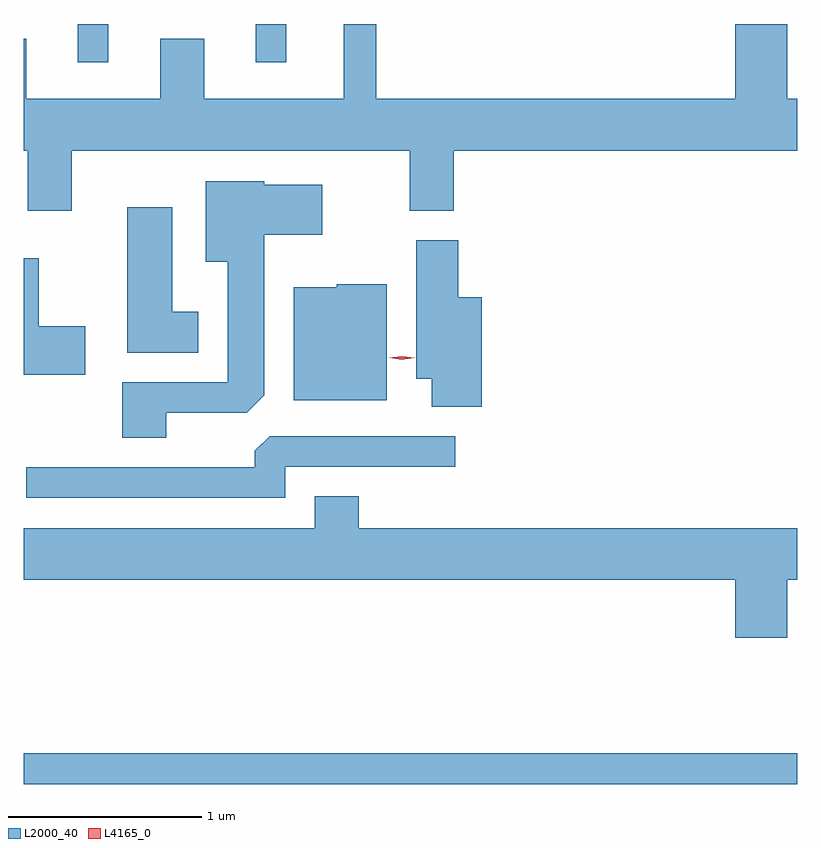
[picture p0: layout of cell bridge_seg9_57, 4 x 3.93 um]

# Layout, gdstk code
import gdstk
lib = gdstk.Library(unit=1e-6, precision=1e-09)
def R(c, l, rs):  # rectangles x0, y0, x1, y1
    for r in rs: c.add(gdstk.rectangle(r[:2], r[2:], *l))
def P(c, l, *ps):  # polygons
    for p in ps: c.add(gdstk.Polygon(p, *l))
L2000_40 = (2000, 40)
L4165_0 = (4165, 0)

bridge_seg9_57 = lib.new_cell('bridge_seg9_57')
R(bridge_seg9_57, L2000_40, [(1669.936,1995.201,1673.936,1995.359), (1670.216,1998.933,1670.374,1999.131), (1671.136,1998.933,1671.294,1999.131)])
P(bridge_seg9_57, L2000_40, [(1670.184,1998.476),(1671.931,1998.476),(1671.931,1998.166),(1672.159,1998.166),(1672.159,1998.476),(1673.936,1998.476),(1673.936,1998.744),(1673.884,1998.744),(1673.884,1999.131),(1673.616,1999.131),(1673.616,1998.744),(1671.759,1998.744),(1671.759,1999.131),(1671.591,1999.131),(1671.591,1998.744),(1670.869,1998.744),(1670.869,1999.054),(1670.641,1999.054),(1670.641,1998.744),(1669.949,1998.744),(1669.949,1999.054),(1669.936,1999.054),(1669.936,1998.476),(1669.956,1998.476),(1669.956,1998.166),(1670.184,1998.166)],
  [(1670.674,1997.121),(1671.089,1997.121),(1671.179,1997.212),(1671.179,1998.041),(1671.479,1998.041),(1671.479,1998.299),(1671.179,1998.299),(1671.179,1998.319),(1670.876,1998.319),(1670.876,1997.901),(1670.991,1997.901),(1670.991,1997.279),(1670.446,1997.279),(1670.446,1996.991),(1670.674,1996.991)],
  [(1670.839,1997.644),(1670.704,1997.644),(1670.704,1998.184),(1670.471,1998.184),(1670.471,1997.431),(1670.839,1997.431)],
  [(1672.304,1997.719),(1672.184,1997.719),(1672.184,1998.014),(1671.966,1998.014),(1671.966,1997.296),(1672.046,1997.296),(1672.046,1997.151),(1672.304,1997.151)],
  [(1670.254,1997.569),(1670.014,1997.569),(1670.014,1997.919),(1669.936,1997.919),(1669.936,1997.316),(1670.254,1997.316)],
  [(1671.814,1997.784),(1671.555,1997.784),(1671.555,1997.769),(1671.331,1997.769),(1671.331,1997.186),(1671.814,1997.186)],
  [(1671.289,1996.841),(1672.168,1996.841),(1672.168,1996.999),(1671.207,1996.999),(1671.131,1996.924),(1671.131,1996.839),(1669.948,1996.839),(1669.948,1996.681),(1671.289,1996.681)],
  [(1671.441,1996.689),(1671.441,1996.524),(1669.936,1996.524),(1669.936,1996.256),(1673.616,1996.256),(1673.616,1995.956),(1673.884,1995.956),(1673.884,1996.256),(1673.936,1996.256),(1673.936,1996.524),(1671.669,1996.524),(1671.669,1996.689)])
P(bridge_seg9_57, L4165_0, [(1671.891,1997.395),(1671.825,1997.405),(1671.824,1997.405),(1671.825,1997.406),(1671.891,1997.414),(1671.957,1997.404),(1671.957,1997.404),(1671.957,1997.404)])

lib.write_gds('bridge_seg9_57.gds')
